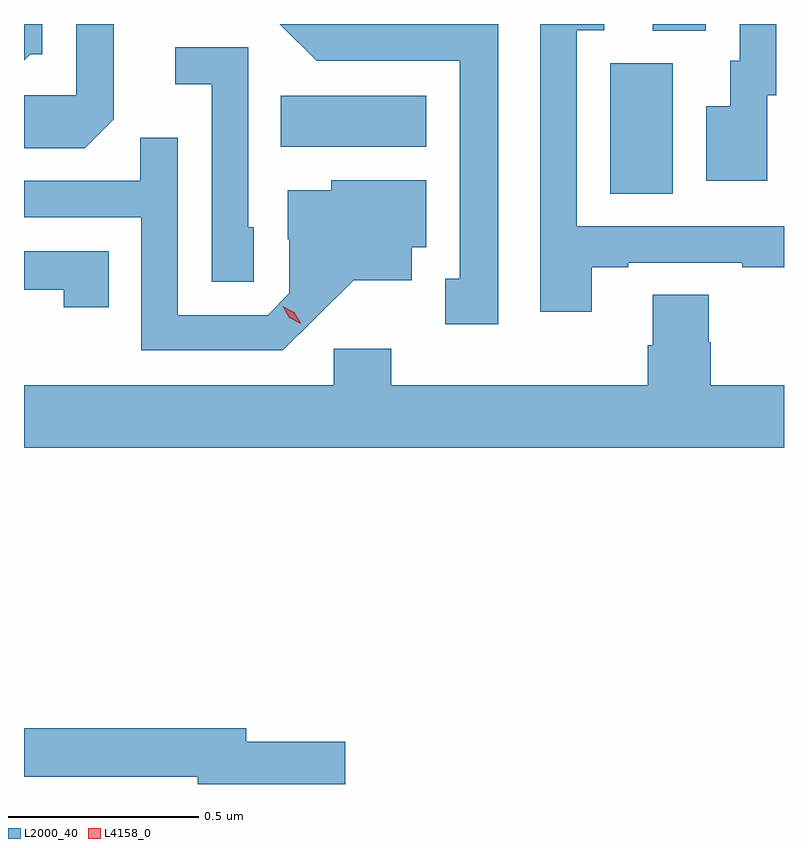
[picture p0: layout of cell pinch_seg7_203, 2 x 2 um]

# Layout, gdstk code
import gdstk
lib = gdstk.Library(unit=1e-6, precision=1e-09)
def R(c, l, rs):  # rectangles x0, y0, x1, y1
    for r in rs: c.add(gdstk.rectangle(r[:2], r[2:], *l))
def P(c, l, *ps):  # polygons
    for p in ps: c.add(gdstk.Polygon(p, *l))
L2000_40 = (2000, 40)
L4158_0 = (4158, 0)

pinch_seg7_203 = lib.new_cell('pinch_seg7_203')
R(pinch_seg7_203, L2000_40, [(1132.352,1021.264,1132.516,1021.608), (1131.484,1021.388,1131.868,1021.522), (1132.463,1021.693,1132.603,1021.711)])
P(pinch_seg7_203, L2000_40, [(1132.057,1021.711),(1131.834,1021.711),(1131.834,1021.71),(1131.612,1021.71),(1131.611,1021.711),(1131.482,1021.711),(1131.579,1021.614),(1131.956,1021.614),(1131.956,1021.041),(1131.917,1021.041),(1131.917,1020.921),(1132.057,1020.921)],
  [(1132.765,1021.524),(1132.789,1021.524),(1132.789,1021.711),(1132.692,1021.711),(1132.692,1021.614),(1132.667,1021.614),(1132.667,1021.495),(1132.604,1021.495),(1132.604,1021.299),(1132.765,1021.299)],
  [(1132.303,1021.071),(1132.399,1021.071),(1132.399,1021.083),(1132.699,1021.083),(1132.699,1021.071),(1132.809,1021.071),(1132.809,1021.179),(1132.263,1021.179),(1132.263,1021.695),(1132.336,1021.695),(1132.336,1021.711),(1132.167,1021.711),(1132.167,1020.954),(1132.303,1020.954)],
  [(1131.045,1021.46),(1131.045,1021.711),(1130.946,1021.711),(1130.946,1021.524),(1130.809,1021.524),(1130.809,1021.384),(1130.969,1021.384)],
  [(1130.826,1021.632),(1130.857,1021.632),(1130.857,1021.711),(1130.809,1021.711),(1130.809,1021.616),(1130.81,1021.616)],
  [(1131.414,1021.176),(1131.399,1021.176),(1131.399,1021.65),(1131.207,1021.65),(1131.207,1021.553),(1131.303,1021.553),(1131.303,1021.033),(1131.414,1021.033)],
  [(1131.574,1020.935),(1131.677,1021.037),(1131.829,1021.037),(1131.829,1021.124),(1131.868,1021.124),(1131.868,1021.3),(1131.618,1021.3),(1131.618,1021.273),(1131.503,1021.273),(1131.503,1021.144),(1131.507,1021.144),(1131.507,1021.002),(1131.45,1020.945),(1131.213,1020.945),(1131.213,1021.412),(1131.115,1021.412),(1131.115,1021.299),(1130.809,1021.299),(1130.809,1021.203),(1131.117,1021.203),(1131.117,1020.852),(1131.49,1020.852)],
  [(1131.032,1021.113),(1130.809,1021.113),(1130.809,1021.012),(1130.914,1021.012),(1130.914,1020.966),(1131.032,1020.966)],
  [(1132.809,1020.76),(1132.616,1020.76),(1132.616,1020.873),(1132.611,1020.873),(1132.611,1020.998),(1132.463,1020.998),(1132.463,1020.866),(1132.451,1020.866),(1132.451,1020.76),(1131.776,1020.76),(1131.776,1020.856),(1131.624,1020.856),(1131.624,1020.76),(1130.809,1020.76),(1130.809,1020.596),(1132.809,1020.596)],
  [(1131.655,1019.822),(1131.394,1019.822),(1131.394,1019.858),(1130.809,1019.858),(1130.809,1019.73),(1131.266,1019.73),(1131.266,1019.711),(1131.655,1019.711)])
P(pinch_seg7_203, L4158_0, [(1131.537,1020.922),(1131.507,1020.938),(1131.49,1020.968),(1131.49,1020.968),(1131.49,1020.968),(1131.52,1020.952),(1131.537,1020.923),(1131.537,1020.922)])

lib.write_gds('pinch_seg7_203.gds')
